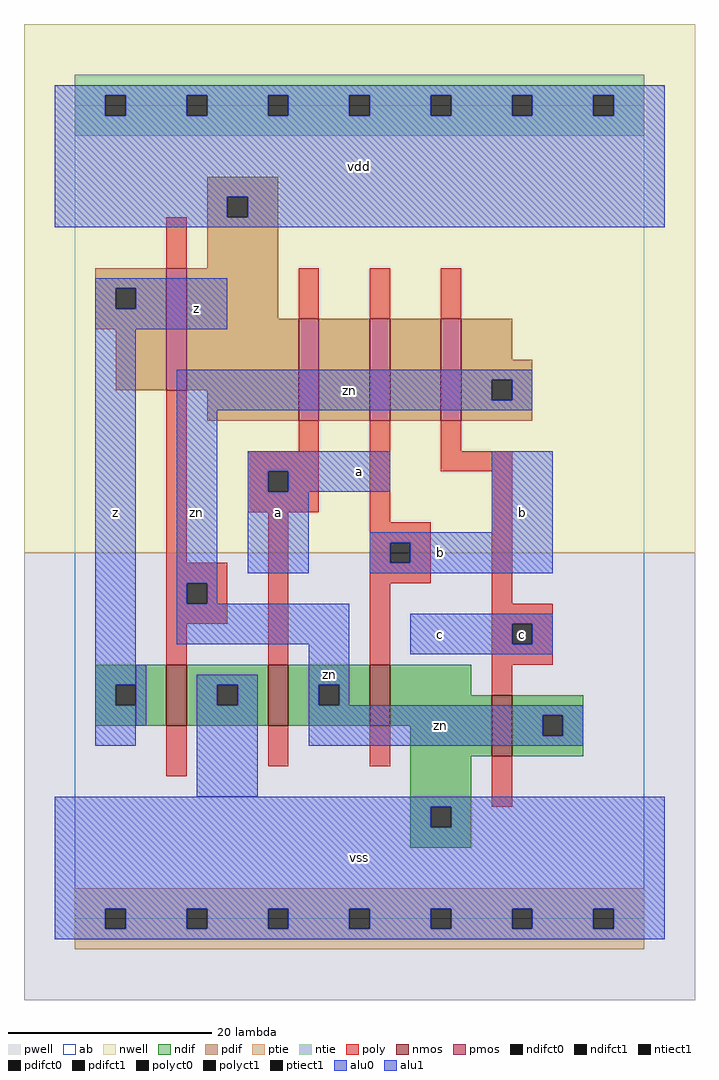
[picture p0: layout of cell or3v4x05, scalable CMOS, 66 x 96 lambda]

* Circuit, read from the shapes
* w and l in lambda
.subckt or3v4x05 a b c vdd vss z zn
M1 vss zn z vss nfet w=6 l=2
M2 zn a vss vss nfet w=6 l=2
M3 vss b zn vss nfet w=6 l=2
M4 zn c vss vss nfet w=6 l=2
M5 vdd zn z vdd pfet w=12 l=2
M6 n1 a vdd vdd pfet w=10 l=2
M7 n2 b n1 vdd pfet w=10 l=2
M8 zn c n2 vdd pfet w=10 l=2
.ends

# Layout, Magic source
magic
tech scmos
<< ab >>
rect 0 0 56 80
<< nwell >>
rect -5 36 61 88
<< pwell >>
rect -5 -8 61 36
<< poly >>
rect 9 64 11 69
rect 22 59 24 64
rect 29 59 31 64
rect 36 59 38 64
rect 9 35 11 52
rect 22 46 24 49
rect 17 44 24 46
rect 17 42 19 44
rect 21 42 24 44
rect 17 40 24 42
rect 9 33 15 35
rect 9 31 11 33
rect 13 31 15 33
rect 9 29 15 31
rect 9 25 11 29
rect 19 25 21 40
rect 29 39 31 49
rect 36 46 38 49
rect 36 44 43 46
rect 29 37 35 39
rect 29 35 31 37
rect 33 35 35 37
rect 29 33 35 35
rect 29 25 31 33
rect 41 31 43 44
rect 41 29 47 31
rect 41 27 43 29
rect 45 27 47 29
rect 41 25 47 27
rect 41 22 43 25
rect 9 14 11 19
rect 19 15 21 19
rect 29 15 31 19
rect 41 11 43 16
<< ndif >>
rect 2 23 9 25
rect 2 21 4 23
rect 6 21 9 23
rect 2 19 9 21
rect 11 23 19 25
rect 11 21 14 23
rect 16 21 19 23
rect 11 19 19 21
rect 21 23 29 25
rect 21 21 24 23
rect 26 21 29 23
rect 21 19 29 21
rect 31 22 39 25
rect 31 19 41 22
rect 33 16 41 19
rect 43 20 50 22
rect 43 18 46 20
rect 48 18 50 20
rect 43 16 50 18
rect 33 11 39 16
rect 33 9 35 11
rect 37 9 39 11
rect 33 7 39 9
<< pdif >>
rect 13 71 20 73
rect 13 69 15 71
rect 17 69 20 71
rect 13 64 20 69
rect 2 62 9 64
rect 2 60 4 62
rect 6 60 9 62
rect 2 58 9 60
rect 4 52 9 58
rect 11 59 20 64
rect 11 52 22 59
rect 13 49 22 52
rect 24 49 29 59
rect 31 49 36 59
rect 38 55 43 59
rect 38 53 45 55
rect 38 51 41 53
rect 43 51 45 53
rect 38 49 45 51
<< alu1 >>
rect -2 81 58 82
rect -2 79 3 81
rect 5 79 11 81
rect 13 79 19 81
rect 21 79 27 81
rect 29 79 35 81
rect 37 79 43 81
rect 45 79 51 81
rect 53 79 58 81
rect -2 71 58 79
rect -2 69 15 71
rect 17 69 58 71
rect -2 68 58 69
rect 2 62 15 63
rect 2 60 4 62
rect 6 60 15 62
rect 2 58 15 60
rect 2 23 6 58
rect 17 44 31 46
rect 17 42 19 44
rect 21 42 31 44
rect 17 34 23 42
rect 41 38 47 46
rect 29 37 47 38
rect 29 35 31 37
rect 33 35 47 37
rect 29 34 47 35
rect 2 21 4 23
rect 2 17 6 21
rect 33 29 47 30
rect 33 27 43 29
rect 45 27 47 29
rect 33 26 47 27
rect -2 11 58 12
rect -2 9 35 11
rect 37 9 58 11
rect -2 1 58 9
rect -2 -1 3 1
rect 5 -1 11 1
rect 13 -1 19 1
rect 21 -1 27 1
rect 29 -1 35 1
rect 37 -1 43 1
rect 45 -1 51 1
rect 53 -1 58 1
rect -2 -2 58 -1
<< ptie >>
rect 0 1 56 3
rect 0 -1 3 1
rect 5 -1 11 1
rect 13 -1 19 1
rect 21 -1 27 1
rect 29 -1 35 1
rect 37 -1 43 1
rect 45 -1 51 1
rect 53 -1 56 1
rect 0 -3 56 -1
<< ntie >>
rect 0 81 56 83
rect 0 79 3 81
rect 5 79 11 81
rect 13 79 19 81
rect 21 79 27 81
rect 29 79 35 81
rect 37 79 43 81
rect 45 79 51 81
rect 53 79 56 81
rect 0 77 56 79
<< nmos >>
rect 9 19 11 25
rect 19 19 21 25
rect 29 19 31 25
rect 41 16 43 22
<< pmos >>
rect 9 52 11 64
rect 22 49 24 59
rect 29 49 31 59
rect 36 49 38 59
<< polyct0 >>
rect 11 31 13 33
<< polyct1 >>
rect 19 42 21 44
rect 31 35 33 37
rect 43 27 45 29
<< ndifct0 >>
rect 14 21 16 23
rect 24 21 26 23
rect 46 18 48 20
<< ndifct1 >>
rect 4 21 6 23
rect 35 9 37 11
<< ntiect1 >>
rect 3 79 5 81
rect 11 79 13 81
rect 19 79 21 81
rect 27 79 29 81
rect 35 79 37 81
rect 43 79 45 81
rect 51 79 53 81
<< ptiect1 >>
rect 3 -1 5 1
rect 11 -1 13 1
rect 19 -1 21 1
rect 27 -1 29 1
rect 35 -1 37 1
rect 43 -1 45 1
rect 51 -1 53 1
<< pdifct0 >>
rect 41 51 43 53
<< pdifct1 >>
rect 15 69 17 71
rect 4 60 6 62
<< alu0 >>
rect 10 53 45 54
rect 10 51 41 53
rect 43 51 45 53
rect 10 50 45 51
rect 10 33 14 50
rect 10 31 11 33
rect 13 31 14 33
rect 10 27 27 31
rect 6 19 7 25
rect 12 23 18 24
rect 12 21 14 23
rect 16 21 18 23
rect 12 12 18 21
rect 23 23 27 27
rect 23 21 24 23
rect 26 21 27 23
rect 23 20 50 21
rect 23 18 46 20
rect 48 18 50 20
rect 23 17 50 18
<< labels >>
rlabel alu0 12 40 12 40 6 zn
rlabel alu0 25 24 25 24 6 zn
rlabel alu0 36 19 36 19 6 zn
rlabel alu0 27 52 27 52 6 zn
rlabel alu1 4 40 4 40 6 z
rlabel alu1 20 40 20 40 6 a
rlabel alu1 12 60 12 60 6 z
rlabel alu1 28 6 28 6 6 vss
rlabel alu1 36 28 36 28 6 c
rlabel alu1 36 36 36 36 6 b
rlabel alu1 28 44 28 44 6 a
rlabel alu1 28 74 28 74 6 vdd
rlabel polyct1 44 28 44 28 6 c
rlabel alu1 44 40 44 40 6 b
<< end >>
